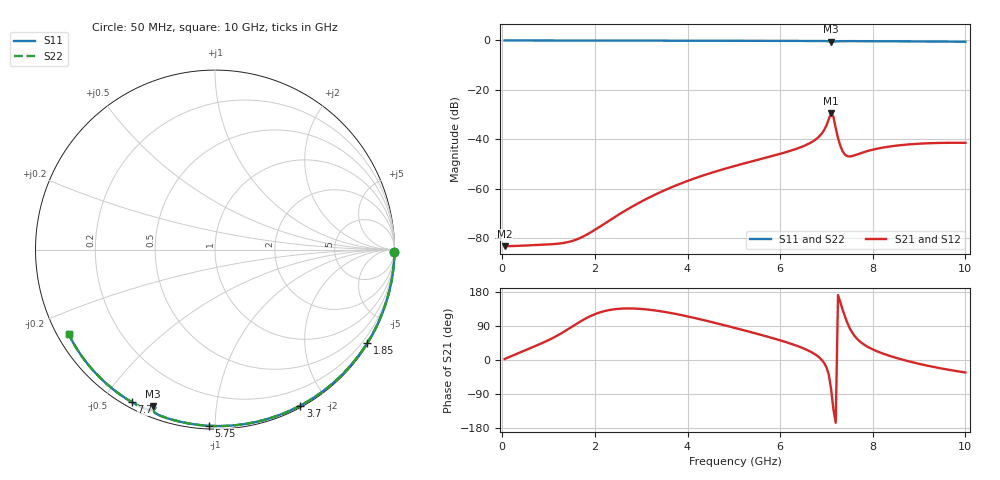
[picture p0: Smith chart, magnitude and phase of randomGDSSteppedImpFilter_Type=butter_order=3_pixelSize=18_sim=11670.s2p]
! freq	dB(S11)	phase(S11)	dB(S12)	phase(S12)
!  dB(S21)	phase(S21)	dB(S22)	phase(S22)
!S-par simulation data
#  GHz  S  DB  R 50
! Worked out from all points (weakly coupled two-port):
!   200 points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, 50 MHz to 10 GHz, reference 50 ohm
!   highest |S21| = -29.35 dB at 7.1 GHz (marker M1); lowest = -83.3 dB at 50 MHz (marker M2)
!   lowest |S11| = -0.5 dB at 7.1 GHz (marker M3), VSWR 32.24, Z = 2.26 - j33.9 ohm
!   |S11| at or under -10 dB: nowhere
!   |S22| runs from -0.5 to 0.0 dB; largest |S21 - S12| = 0
!   S11 on the Smith chart (normalised r, x): 50 MHz: open; 1.85 GHz: 0.03, -3.55; 3.7 GHz: 0.02, -1.69; 5.75 GHz: 0.02, -0.97; 7.7 GHz: 0.02, -0.59; 10 GHz: 0.03, -0.27
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0.05  -0.00 -0.9  -83.34 2.5  -83.34 2.5  -0.00 -0.9
0.9  -0.02 -15.5  -82.73 46.8  -82.73 46.8  -0.02 -15.5
1.75  -0.04 -29.8  -79.40 106.2  -79.40 106.2  -0.04 -29.8
1.85  -0.04 -31.5  -78.39 112.7  -78.39 112.7  -0.04 -31.5
2.75  -0.06 -46.2  -67.90 136.1  -67.90 136.1  -0.06 -46.2
3.4  -0.08 -56.6  -61.57 129.0  -61.57 129.0  -0.08 -56.6
3.7  -0.08 -61.3  -59.11 122.6  -59.11 122.6  -0.08 -61.3
5.05  -0.13 -81.7  -50.69 83.7  -50.69 83.7  -0.13 -81.7
5.75  -0.15 -91.9  -47.20 60.8  -47.20 60.8  -0.15 -91.9
6.35  -0.18 -100.5  -43.91 38.0  -43.91 38.0  -0.18 -100.5
6.7  -0.21 -105.5  -40.98 19.1  -40.98 19.1  -0.21 -105.5
6.85  -0.22 -107.7  -38.76 6.1  -38.76 6.1  -0.22 -107.7
6.95  -0.24 -109.3  -36.29 -7.9  -36.29 -7.9  -0.24 -109.3
7.1  -0.54 -111.6  -29.35 -76.4  -29.35 -76.4  -0.54 -111.6
7.15  -0.53 -110.6  -30.95 -130.3  -30.95 -130.3  -0.53 -110.6
7.25  -0.32 -111.9  -39.58 171.5  -39.58 171.5  -0.32 -111.9
7.35  -0.28 -113.5  -44.94 132.7  -44.94 132.7  -0.28 -113.5
7.45  -0.27 -115.0  -46.89 98.2  -46.89 98.2  -0.27 -115.0
7.7  -0.28 -118.6  -45.91 51.2  -45.91 51.2  -0.28 -118.6
8.35  -0.33 -127.4  -43.01 11.5  -43.01 11.5  -0.33 -127.4
9.05  -0.40 -136.9  -41.77 -11.5  -41.77 -11.5  -0.40 -136.9
10  -0.52 -149.9  -41.47 -33.0  -41.47 -33.0  -0.52 -149.9
